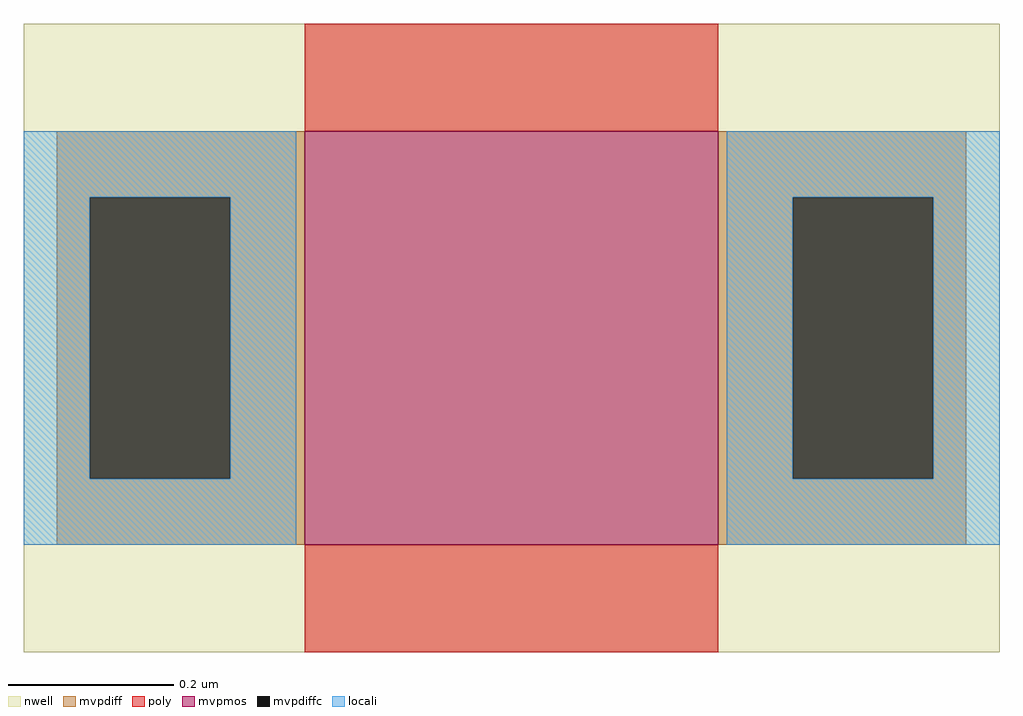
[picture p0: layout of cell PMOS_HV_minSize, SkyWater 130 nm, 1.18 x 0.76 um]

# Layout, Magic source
magic
tech sky130A
<< nwell >>
rect -121 20 -3 96
<< mvpmos >>
rect -87 33 -37 83
<< mvpdiff >>
rect -117 75 -87 83
rect -117 41 -113 75
rect -96 41 -87 75
rect -117 33 -87 41
rect -37 75 -7 83
rect -37 41 -28 75
rect -11 41 -7 75
rect -37 33 -7 41
<< mvpdiffc >>
rect -113 41 -96 75
rect -28 41 -11 75
<< poly >>
rect -87 83 -37 96
rect -87 20 -37 33
<< locali >>
rect -121 75 -88 83
rect -121 41 -113 75
rect -96 41 -88 75
rect -121 33 -88 41
rect -36 75 -3 83
rect -36 41 -28 75
rect -11 41 -3 75
rect -36 33 -3 41
<< end >>
